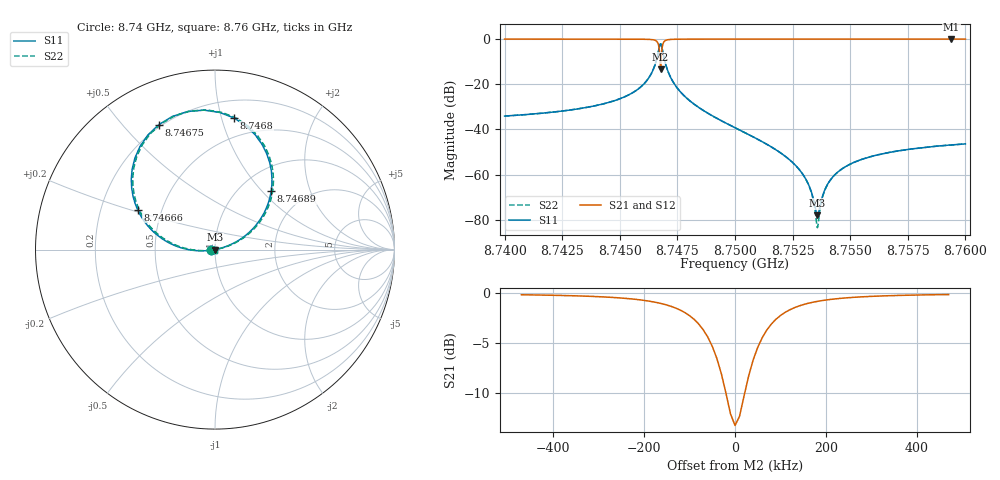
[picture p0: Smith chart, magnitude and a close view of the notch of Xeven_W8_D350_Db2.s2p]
! Sonnet Data File
! From: emgraph Version : 16.52
! From Emgraph Data: Qubit_Xmon2_brgDb
! Data File Written: 11/12/2017 19:51:19
!< HDATE 11/12/2017 19:12:18
!< MDATE 11/12/2017 19:12:18
!< PARAMS
!< Lj = 11.0
!< Gap = 6.0
!< Pwid = 2000.0
!< Width = 10.0
!< Bwid = 8.0
!< Dis1 = 350.0
!< END PARAMS
# GHZ S MA R 51.80000
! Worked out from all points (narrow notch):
!   2001 points, 8.74 GHz to 8.76 GHz, reference 51.8 ohm
!   highest |S21| = 0.00 dB at 8.75939 GHz (marker M1); lowest = -13.3 dB at 8.74677 GHz (marker M2)
!   notch at M2: 13.3 dB deep, 79.7 kHz wide at half that depth
!   lowest |S11| = -78.0 dB at 8.75358 GHz (marker M3), VSWR 1.00, Z = 51.8 + j0.0126 ohm
!   |S11| at or under -10 dB: start of sweep to 8.74657 GHz; 8.746959 GHz to end of sweep
!   |S22| runs from -83.5 to -2.1 dB; largest |S21 - S12| = 0
!   S11 on the Smith chart (normalised r, x): 8.74 GHz: 0.96, -0.01; 8.74666 GHz: 0.36, +0.21; 8.74675 GHz: 0.19, +0.63; 8.7468 GHz: 0.34, +1.10; 8.74689 GHz: 1.38, +1.13; 8.76 GHz: 0.99, -0.00
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8.74  0.01978 -170.8  0.9998 -81.0  0.9998 -81.0  0.01978 -171.4
!< P1 F=8.74 Eeff=(6.446804 -2.9786e-5) Z0=(51.7992027 1.19069e-4) R=0.0 C=0.0
!< P2 F=8.74 Eeff=(6.446804 -2.9786e-5) Z0=(51.7992027 1.19069e-4) R=0.0 C=0.0
8.74334  0.02943 -171.4  0.9995 -81.6  0.9995 -81.6  0.02943 -172.2
8.74575  0.07538 -174.7  0.996 -84.3  0.996 -84.3  0.07538 -175.7
8.74647  0.2239 174.3  0.9616 -92.9  0.9616 -92.9  0.2239 173.2
8.74666  0.4859 152.7  0.7989 -108.6  0.7989 -108.6  0.4859 151.5
8.74667  0.5137 150.0  0.7716 -110.3  0.7716 -110.3  0.5136 148.8
8.74675  0.7633 114.2  0.3146 -114.8  0.3146 -114.8  0.7633 113.1
8.74677  0.7844 101.2  0.2158 -81.9  0.2158 -81.9  0.7844 100.0
8.7468  0.7409 81.8  0.3831 -41.3  0.3831 -41.3  0.7408 80.6
8.74689  0.4513 46.1  0.8249 -53.5  0.8249 -53.5  0.4512 44.9
8.7471  0.1883 24.9  0.9711 -69.1  0.9711 -69.1  0.1883 23.6
8.74774  0.05926 15.4  0.9969 -76.6  0.9969 -76.6  0.05926 14.0
8.75  0.01094 12.4  0.9998 -79.4  0.9998 -79.4  0.01094 10.2
8.7524  0.002069 14.5  1 -79.9  1 -79.9  0.002065 8.0
8.75299  0.0009408 18.6  1 -80.0  1 -80.0  0.0009337 5.6
8.75334  0.0003779 30.2  1 -80.0  1 -80.0  0.0003617 -1.0
8.75358  0.0001252 102.8  1 -80.0  1 -80.0  6.722e-05 -84.8
8.75393  0.0005027 176.4  1 -80.1  1 -80.1  0.0004925 -162.5
8.75441  0.001084 -175.8  1 -80.1  1 -80.1  0.00108 -166.8
8.75667  0.003089 -171.7  1 -80.2  1 -80.2  0.003088 -169.3
8.75939  0.004554 -171.1  1 -80.3  1 -80.3  0.004553 -169.9
8.76  0.0048 -171.0  1 -80.4  1 -80.4  0.004799 -169.9
